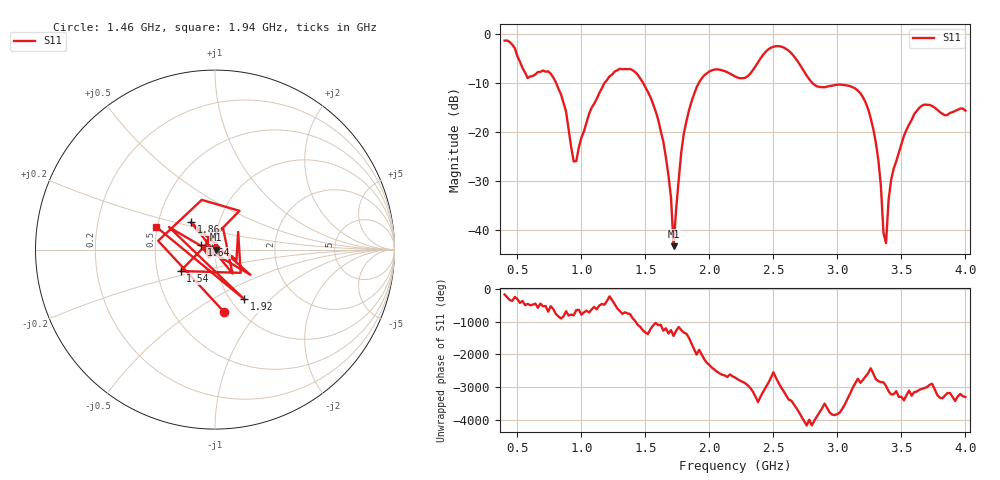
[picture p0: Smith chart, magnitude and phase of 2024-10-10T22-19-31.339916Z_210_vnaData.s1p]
! Created with skrf (http://scikit-rf.org).
# Hz S RI R 50.0
!freq ReS11 ImS11
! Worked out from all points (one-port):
!   181 points, 400 MHz to 4 GHz, reference 50 ohm
!   lowest |S11| = -43.3 dB at 1.72 GHz (marker M1), VSWR 1.01, Z = 50.7 + j0.0293 ohm
!   |S11| at or under -10 dB: 802.8 MHz to 1.18 GHz (377.5 MHz wide, 38.1 % of centre); 1.482 GHz to 1.917 GHz (435.1 MHz wide, 25.6 % of centre); 2.805 GHz to end of sweep
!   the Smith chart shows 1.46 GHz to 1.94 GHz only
!   S11 on the Smith chart (normalised r, x): 1.46 GHz: 0.86, -0.68; 1.54 GHz: 0.66, -0.17; 1.64 GHz: 0.86, +0.04; 1.86 GHz: 0.73, +0.23; 1.92 GHz: 1.15, -0.71; 1.94 GHz: 0.49, +0.14
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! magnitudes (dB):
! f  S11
! 400 MHz  -1.4
! 580 MHz  -9.0
! 760 MHz  -8.1
! 860 MHz  -14.0
! 960 MHz  -25.9
! 1.08 GHz  -15.0
! 1.3 GHz  -7.1
! 1.46 GHz  -9.1
! 1.54 GHz  -12.9
! 1.64 GHz  -22.0
! 1.7 GHz  -33.3
! 1.72 GHz  -43.3
! 1.76 GHz  -29.8
! 1.8 GHz  -20.3
! 1.86 GHz  -13.8
! 1.92 GHz  -9.9
! 1.94 GHz  -9.1
! 2.2 GHz  -8.7
! 2.5 GHz  -2.6
! 2.66 GHz  -4.5
! 2.84 GHz  -10.7
! 3.1 GHz  -10.7
! 3.28 GHz  -19.4
! 3.38 GHz  -42.7
! 3.42 GHz  -29.7
! 3.56 GHz  -18.5
! 3.68 GHz  -14.4
! 4 GHz  -15.6
